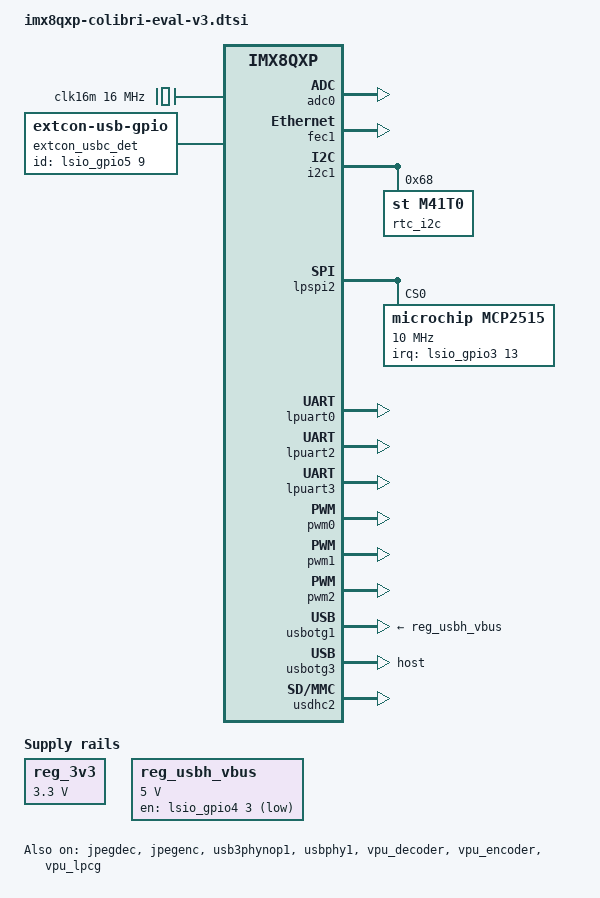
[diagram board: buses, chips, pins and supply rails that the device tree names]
// SPDX-License-Identifier: GPL-2.0+ OR X11
/*
 * Copyright 2018-2020 Toradex
 */

/ {
	aliases {
		rtc0 = &rtc_i2c;
		rtc1 = &rtc;
	};

	/* fixed crystal dedicated to mcp25xx */
	clk16m: clock-16mhz-fixed {
		compatible = "fixed-clock";
		#clock-cells = <0>;
		clock-frequency = <16000000>;
	};

	extcon_usbc_det: usbc_det {
		compatible = "linux,extcon-usb-gpio";
		debounce = <25>;
		id-gpio = <&lsio_gpio5 9 GPIO_ACTIVE_HIGH>;
		pinctrl-names = "default";
		pinctrl-0 = <&pinctrl_usbc_det>;
	};

	reg_3v3: regulator-3v3 {
		compatible = "regulator-fixed";
		regulator-name = "3.3V";
		regulator-min-microvolt = <3300000>;
		regulator-max-microvolt = <3300000>;
	};

	reg_usbh_vbus: regulator-usbh-vbus {
		compatible = "regulator-fixed";
		pinctrl-names = "default";
		pinctrl-0 = <&pinctrl_usbh1_reg>;
		regulator-name = "usbh_vbus";
		regulator-min-microvolt = <5000000>;
		regulator-max-microvolt = <5000000>;
		gpio = <&lsio_gpio4 3 GPIO_ACTIVE_LOW>;
		regulator-always-on;
	};
};

/* Colibri Analogue Inputs */
&adc0 {
	status = "okay";
};

/* Colibri PWM_A */
&adma_pwm {
	status = "okay";
};

/* Colibri FastEthernet */
&fec1 {
	status = "okay";
};

/* Colibri I2C */
&i2c1 {
	status = "okay";

	/* M41T0M6 real time clock on carrier board */
	rtc_i2c: rtc@68 {
		compatible = "st,m41t0";
		reg = <0x68>;
	};
};

&jpegdec {
	status = "okay";
};

&jpegenc {
	status = "okay";
};

/* Colibri SPI */
&lpspi2 {
	mcp2515: can@0 {
		compatible = "microchip,mcp2515";
		pinctrl-names = "default";
		pinctrl-0 = <&pinctrl_can_int>;
		reg = <0>;
		clocks = <&clk16m>;
		interrupt-parent = <&lsio_gpio3>;
		interrupts = <13 IRQ_TYPE_EDGE_FALLING>;
		spi-max-frequency = <10000000>;
		status = "okay";
	};
	/* To keep the CAN controller enabled by default,
	 * disable conflicting spidev. This spidev device
	 * enables with the devicetree overlay.
	 */
	spidev0: spidev@0 {
		status = "disabled";
	};
};

/* Colibri UART_B */
&lpuart0 {
	status = "okay";
};

/* Colibri UART_C */
&lpuart2 {
	status = "okay";
};

/* Colibri UART_A */
&lpuart3 {
	status= "okay";
};

&lsio_gpio3 {
	/*
	 * Add GPIO3_10 as a wakeup source:
	 * Pin:  157	SC_P_QSPI0A_DATA1 (SODIMM_45)
	 * Type: 6	SC_PAD_WAKEUP_RISE_EDGE
	 * Line: 10	GPIO3_IO10
	 */
	pad-wakeup = <IMX8QXP_QSPI0A_DATA1 6 10>;
	pad-wakeup-num = <1>;
 };

/* Colibri PWM_B */
&pwm0 {
	status = "okay";
};

/* Colibri PWM_C */
&pwm1 {
	status = "okay";
};

/* Colibri PWM_D */
&pwm2 {
	status = "okay";
};

/* USB PHY for &usbotg3 */
&usb3phynop1 {
	status = "okay";
};

&usbotg1 {
	extcon = <&extcon_usbc_det &extcon_usbc_det>;
	vbus-supply = <&reg_usbh_vbus>;
	srp-disable;
	hnp-disable;
	adp-disable;
	power-active-high;
	disable-over-current;
	status = "okay";
};

&usbotg3 {
	dr_mode = "host";
	status = "okay";
};

/* USB PHY for &usbotg1 */
&usbphy1 {
	status = "okay";
};

/* Colibri SD/MMC Card */
&usdhc2 {
	status = "okay";
};

&vpu_decoder {
	status = "okay";
};

&vpu_encoder {
	status = "okay";
};

&vpu_lpcg {
	status = "okay";
};
